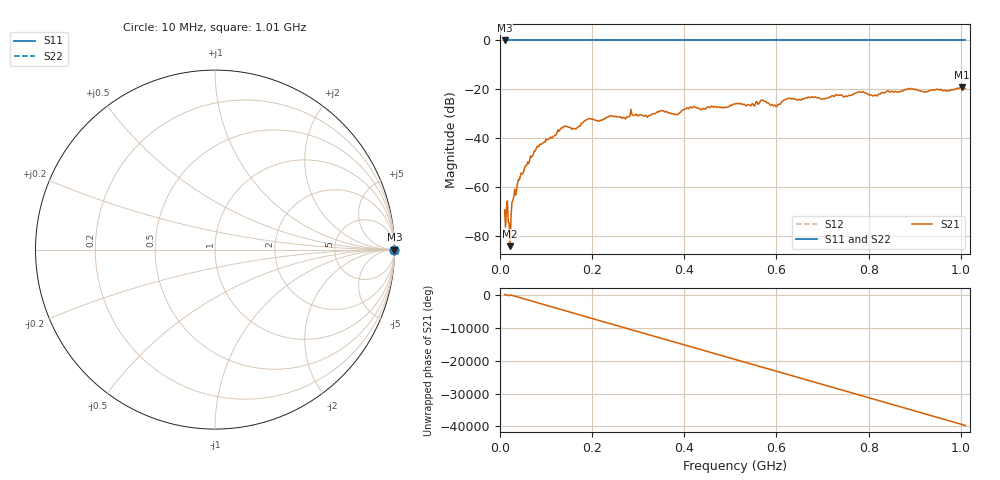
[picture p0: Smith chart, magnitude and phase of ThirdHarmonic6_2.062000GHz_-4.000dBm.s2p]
! 8/17/2025 12:42:21 AM
! C:\ANRITSUVNA\TEMP\TEMP.S2P
! CHANNEL.1
! TR.MEASUREMENT
! RAW.DATA
! RF.CORRECTION.OFF
! AVERAGING.OFF
! IF.BANDWIDTH: 5KHZ
! SWEEPTYPE:  FREQ.SWEEP(Linear)
! Reference Plane Port Info
! PORT:  PORT1  PORT2
! DISTANCE:  0  m  0  m
! TIME:  0  s  0  s
! PHASE.OFFSET:  0  deg.  0  deg.
! LOSS:  0  dB  0  dB
! REF.LOSS:  0  dB  0  dB
! REF.FREQ:  0  Hz  0  Hz
! Power Info
! POWER:  -20  dBm  -20  dBm
! EFF.POWER:  -20  dBm  -20  dBm
! SOURCE.ATTEN:  0  dB  0  dB
! TEST.ATTEN:  0  dB  0  dB
# GHZ S RI R 50.0
! FREQ.GHZ  S11RE  S11IM  S21RE  S21IM  S12RE  S12IM  S22RE  S22IM
!; PortSelection: Port_12
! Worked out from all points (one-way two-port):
!   501 points, 10 MHz to 1.01 GHz, reference 50 ohm
!   highest |S21| = -18.94 dB at 1.002 GHz (marker M1); lowest = -84.0 dB at 22 MHz (marker M2)
!   lowest |S11| = 0.0 dB at 10 MHz (marker M3)
!   |S11| at or under -10 dB: nowhere
!   |S22| runs from 0.0 to 0.0 dB; largest |S21 - S12| = 1.1
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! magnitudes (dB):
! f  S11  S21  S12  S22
! 10 MHz  0.0  -69.2  0.0  0.0
! 22 MHz  0.0  -84.0  0.0  0.0
! 28 MHz  0.0  -65.1  0.0  0.0
! 42 MHz  0.0  -56.9  0.0  0.0
! 78 MHz  0.0  -44.5  0.0  0.0
! 136 MHz  0.0  -35.7  0.0  0.0
! 160 MHz  0.0  -35.9  0.0  0.0
! 178 MHz  0.0  -33.8  0.0  0.0
! 194 MHz  0.0  -31.9  0.0  0.0
! 322 MHz  0.0  -30.8  0.0  0.0
! 344 MHz  0.0  -29.2  0.0  0.0
! 384 MHz  0.0  -30.2  0.0  0.0
! 416 MHz  0.0  -27.5  0.0  0.0
! 510 MHz  0.0  -25.9  0.0  0.0
! 548 MHz  0.0  -25.7  0.0  0.0
! 570 MHz  0.0  -24.4  0.0  0.0
! 598 MHz  0.0  -26.8  0.0  0.0
! 624 MHz  0.0  -23.8  0.0  0.0
! 678 MHz  0.0  -23.0  0.0  0.0
! 844 MHz  0.0  -20.8  0.0  0.0
! 1.002 GHz  0.0  -18.9  0.0  0.0
! 1.01 GHz  0.0  -19.6  0.0  0.0
